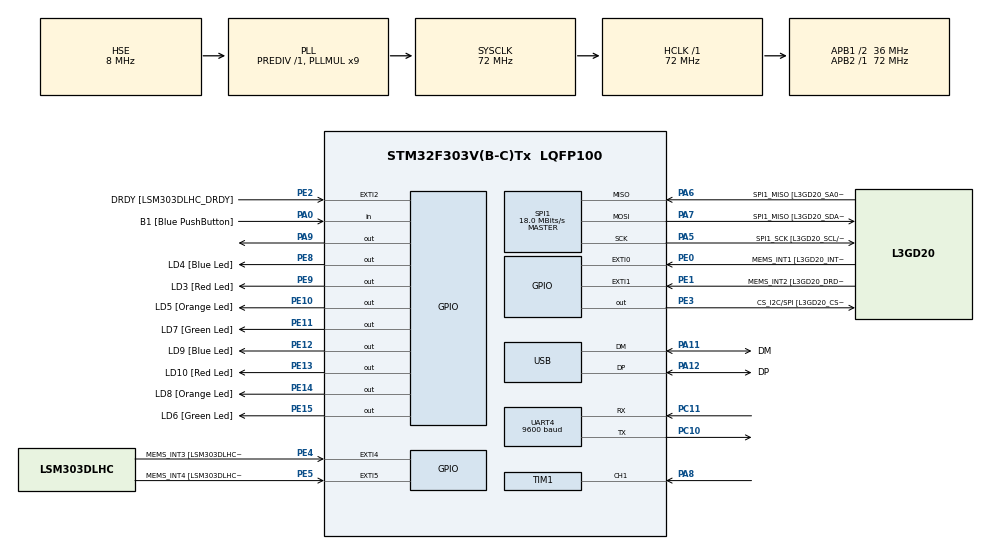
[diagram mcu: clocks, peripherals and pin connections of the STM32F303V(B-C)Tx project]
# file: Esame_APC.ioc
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Mcu.Family=STM32F3
Mcu.Name=STM32F303V(B-C)Tx
Mcu.Package=LQFP100
NVIC.PriorityGroup=NVIC_PRIORITYGROUP_0
NVIC.TIM1_CC_IRQn=true\:0\:0\:false\:false\:true\:true\:true\:true
PA0.GPIO_Label=B1 [Blue PushButton]
PA0.Signal=GPIO_Input
PA11.GPIO_Label=DM
PA11.Mode=Device
PA11.Signal=USB_DM
PA12.GPIO_Label=DP
PA12.Mode=Device
PA12.Signal=USB_DP
PA13.GPIO_Label=SWDIO
PA13.Mode=Serial_Wire
PA13.Signal=SYS_JTMS-SWDIO
PA14.GPIO_Label=SWCLK
PA14.Mode=Serial_Wire
PA14.Signal=SYS_JTCK-SWCLK
PA5.GPIO_Label=SPI1_SCK [L3GD20_SCL/SPC]
PA5.Mode=Full_Duplex_Master
PA5.Signal=SPI1_SCK
PA6.GPIO_Label=SPI1_MISO [L3GD20_SA0/SDO]
PA6.Mode=Full_Duplex_Master
PA6.Signal=SPI1_MISO
PA7.GPIO_Label=SPI1_MISO [L3GD20_SDA/SDI/SDO]
PA7.Mode=Full_Duplex_Master
PA7.Signal=SPI1_MOSI
PA8.Signal=S_TIM1_CH1
PA9.Signal=GPIO_Output
PB3.GPIO_Label=SWO
PB3.Signal=SYS_JTDO-TRACESWO
PB6.GPIO_Label=I2C1_SCL [LSM303DLHC_SCL]
PB6.GPIO_Pu=GPIO_PULLUP
PB6.Signal=I2C1_SCL
PB7.GPIO_Label=I2C1_SDA [LSM303DLHC_SDA]
PB7.GPIO_Pu=GPIO_PULLUP
PB7.Signal=I2C1_SDA
PC10.Mode=Asynchronous
PC10.Signal=UART4_TX
PC11.Mode=Asynchronous
PC11.Signal=UART4_RX
PC14-OSC32_IN.GPIO_Label=OSC32_IN
PC14-OSC32_IN.Signal=RCC_OSC32_IN
PC15-OSC32_OUT.GPIO_Label=OSC32_OUT
PC15-OSC32_OUT.Signal=RCC_OSC32_OUT
PE0.GPIO_Label=MEMS_INT1 [L3GD20_INT1]
PE0.GPIO_ModeDefaultEXTI=GPIO_MODE_EVT_RISING
PE0.Signal=GPXTI0
PE1.GPIO_Label=MEMS_INT2 [L3GD20_DRDY/INT2]
PE1.GPIO_ModeDefaultEXTI=GPIO_MODE_EVT_RISING
PE1.Signal=GPXTI1
PE10.GPIO_Label=LD5 [Orange Led]
PE10.Signal=GPIO_Output
PE11.GPIO_Label=LD7 [Green Led]
PE11.Signal=GPIO_Output
PE12.GPIO_Label=LD9 [Blue Led]
PE12.Signal=GPIO_Output
PE13.GPIO_Label=LD10 [Red Led]
PE13.Signal=GPIO_Output
PE14.GPIO_Label=LD8 [Orange Led]
PE14.Signal=GPIO_Output
PE15.GPIO_Label=LD6 [Green Led]
PE15.Signal=GPIO_Output
PE2.GPIO_Label=DRDY [LSM303DLHC_DRDY]
PE2.GPIO_ModeDefaultEXTI=GPIO_MODE_EVT_RISING
PE2.Signal=GPXTI2
PE3.GPIO_Label=CS_I2C/SPI [L3GD20_CS_I2C/SPI]
PE3.Signal=GPIO_Output
PE4.GPIO_Label=MEMS_INT3 [LSM303DLHC_INT1]
PE4.GPIO_ModeDefaultEXTI=GPIO_MODE_EVT_RISING
PE4.Signal=GPXTI4
PE5.GPIO_Label=MEMS_INT4 [LSM303DLHC_INT2]
PE5.GPIO_ModeDefaultEXTI=GPIO_MODE_EVT_RISING
PE5.Signal=GPXTI5
PE8.GPIO_Label=LD4 [Blue Led]
PE8.Signal=GPIO_Output
PE9.GPIO_Label=LD3 [Red Led]
PE9.Signal=GPIO_Output
PF0-OSC_IN.GPIO_Label=OSC_IN
PF0-OSC_IN.Mode=HSE-External-Clock-Source
PF0-OSC_IN.Signal=RCC_OSC_IN
PF1-OSC_OUT.GPIO_Label=OSC_OUT
PF1-OSC_OUT.Signal=RCC_OSC_OUT
ProjectManager.HeapSize=0x200
ProjectManager.StackSize=0x400
ProjectManager.TargetToolchain=STM32CubeIDE
RCC.AHBFreq_Value=72000000
RCC.APB1CLKDivider=RCC_HCLK_DIV2
RCC.APB1Freq_Value=36000000
RCC.APB1TimFreq_Value=72000000
RCC.APB2Freq_Value=72000000
RCC.APB2TimFreq_Value=72000000
RCC.CortexFreq_Value=72000000
RCC.HCLKFreq_Value=72000000
RCC.HSE_VALUE=8000000
RCC.HSI_VALUE=8000000
RCC.LSE_VALUE=32768
RCC.PLLMUL=RCC_PLL_MUL9
RCC.PRESCALERUSB=RCC_USBCLKSOURCE_PLL_DIV1_5
RCC.SYSCLKFreq_VALUE=72000000
RCC.SYSCLKSourceVirtual=RCC_SYSCLKSOURCE_PLLCLK
RCC.USBFreq_Value=48000000
SH.S_TIM1_CH1.0=TIM1_CH1,Input_Capture1_from_TI1
SPI1.BaudRatePrescaler=SPI_BAUDRATEPRESCALER_4
SPI1.BaudRatePrescaler-Full_Duplex_Master=SPI_BAUDRATEPRESCALER_2
SPI1.CalculateBaudRate=18.0 MBits/s
SPI1.CalculateBaudRate-Full_Duplex_Master=24.0 MBits/s
SPI1.Direction=SPI_DIRECTION_2LINES
SPI1.Mode=SPI_MODE_MASTER
SPI1.Mode-Full_Duplex_Master=SPI_MODE_MASTER
SPI1.VirtualType=VM_MASTER
TIM1.Channel-Input_Capture1_from_TI1=TIM_CHANNEL_1
TIM1.Period=0xffff-1
TIM1.Prescaler=72-1
UART4.BaudRate=9600
board=STM32F3DISCOVERY

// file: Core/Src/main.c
/* USER CODE BEGIN Header */
/**
  ******************************************************************************
  * @file           : main.c
  * @brief          : Main program body
  ******************************************************************************
  * @attention
  *
  * Copyright (c) 2025 STMicroelectronics.
  * All rights reserved.
  *
  * This software is licensed under terms that can be found in the LICENSE file
  * in the root directory of this software component.
  * If no LICENSE file comes with this software, it is provided AS-IS.
  *
  ******************************************************************************
  */
/* USER CODE END Header */
#include "main.h"

/* USER CODE BEGIN Includes */
#include <stdio.h>

/* USER CODE END Includes */

SPI_HandleTypeDef hspi1;

TIM_HandleTypeDef htim1;

UART_HandleTypeDef huart4;

PCD_HandleTypeDef hpcd_USB_FS;

void SystemClock_Config(void);
static void MX_GPIO_Init(void);
static void MX_SPI1_Init(void);
static void MX_USB_PCD_Init(void);
static void MX_TIM1_Init(void);
static void MX_UART4_Init(void);

/* USER CODE BEGIN 0 */
void delay(uint16_t time){
	//setto il counter a zero ed attendo che arrivi al valore indicato dal time
	__HAL_TIM_SET_COUNTER(&htim1,0);
	while(__HAL_TIM_GET_COUNTER(&htim1) < time);
}

uint32_t IC_Val1 = 0;
uint32_t IC_Val2 = 0;
uint32_t Difference = 0;
uint8_t Is_First_Captured = 0;  // è stato catturato il primo valore?
uint8_t Distance  = 0;
#define TRIG_PIN GPIO_PIN_9
#define TRIG_PORT GPIOA
#define LED_PORT GPIOE
const uint16_t LED_PINS[] = {
    GPIO_PIN_8,  // LD3
    GPIO_PIN_9,  // LD4
    GPIO_PIN_10, // LD5
    GPIO_PIN_11, // LD6
    GPIO_PIN_12, // LD7
    GPIO_PIN_13, // LD8
    GPIO_PIN_14, // LD9
    GPIO_PIN_15  // LD10
};
uint8_t ledsToTurnOn = 0; //contatore dei led da accendere in base alla distanza

void HAL_TIM_IC_CaptureCallback(TIM_HandleTypeDef *htim){
	if(htim -> Channel == HAL_TIM_ACTIVE_CHANNEL_1){//SE LA SORGENTE D'INTERRUZIONE è IL CANALE1
		if(Is_First_Captured == 0){
			IC_Val1 = HAL_TIM_ReadCapturedValue(htim,TIM_CHANNEL_1);
			Is_First_Captured = 1;
			__HAL_TIM_SET_CAPTUREPOLARITY(htim, TIM_CHANNEL_1, TIM_INPUTCHANNELPOLARITY_FALLING);
		}
		else{
			IC_Val2 = HAL_TIM_ReadCapturedValue(htim,TIM_CHANNEL_1);
			__HAL_TIM_SET_COUNTER(htim,0);
			if(IC_Val2 > IC_Val1){
				Difference = IC_Val2 - IC_Val1;
			}
			else{
				Difference = (0xffff - IC_Val1) + IC_Val2;
			}
			Distance = Difference * (.034/2);
			Is_First_Captured = 0;
			__HAL_TIM_SET_CAPTUREPOLARITY(htim, TIM_CHANNEL_1, TIM_INPUTCHANNELPOLARITY_RISING);
			__HAL_TIM_DISABLE_IT(htim,TIM_IT_CC1);
		}
	}
}

//funzione per la lettura dal sensore
void leggi_HCSR04(void){
	HAL_GPIO_WritePin(TRIG_PORT,TRIG_PIN,GPIO_PIN_SET);
	delay(10);//leggo ogni 10ms
	HAL_GPIO_WritePin(TRIG_PORT,TRIG_PIN,GPIO_PIN_RESET);
	__HAL_TIM_ENABLE_IT(&htim1,TIM_IT_CC1);
}
char arr[6];  // Dichiaro un buffer abbastanza grande inutile allocarlo sempre
void uart_send(uint8_t num) {
	int len = snprintf(arr, sizeof(arr), "%u\n", num);  // converte solo il numero
    HAL_UART_Transmit(&huart4, (uint8_t*)arr, len, 1000);  // invia solo i byte utili
}

/* USER CODE END 0 */

int main(void)
{

  /* MCU Configuration--------------------------------------------------------*/

  /* Reset of all peripherals, Initializes the Flash interface and the Systick. */
  HAL_Init();

  /* Configure the system clock */
  SystemClock_Config();

  /* Initialize all configured peripherals */
  MX_GPIO_Init();
  MX_SPI1_Init();
  MX_USB_PCD_Init();
  MX_TIM1_Init();
  MX_UART4_Init();
  /* USER CODE BEGIN 2 */
  HAL_TIM_IC_Start_IT(&htim1,TIM_CHANNEL_1);
  /* USER CODE END 2 */

  /* Infinite loop */
  while (1)
  {

    /* USER CODE BEGIN 3 */
	  leggi_HCSR04();
	  uart_send(Distance);
	 if(Distance <70){
		 if (Distance < 5) {
		         ledsToTurnOn = 8;
		     } else if (Distance < 10) {
		         ledsToTurnOn = 7;
		     } else if (Distance < 15) {
		         ledsToTurnOn = 6;
		     } else if (Distance < 35) {
		         ledsToTurnOn = 4;
		     } else if (Distance < 50) {
		         ledsToTurnOn = 2;
		     }
		for(int i = 0; i < 8 ; i ++){
			if(i < ledsToTurnOn){
				HAL_GPIO_WritePin(LED_PORT,LED_PINS[i],1);
			}else{
				HAL_GPIO_WritePin(LED_PORT,LED_PINS[i],0);
			}
		}
	 }else{//distanza >=70
		 for (int i = 7; i >= 0; i--) {
			 HAL_GPIO_WritePin(LED_PORT, LED_PINS[i], GPIO_PIN_RESET); // Spegne uno per uno
		 }
	 }
  }
  /* USER CODE END 3 */
}

void SystemClock_Config(void)
{
  RCC_OscInitTypeDef RCC_OscInitStruct = {0};
  RCC_ClkInitTypeDef RCC_ClkInitStruct = {0};
  RCC_PeriphCLKInitTypeDef PeriphClkInit = {0};

  /** Initializes the RCC Oscillators according to the specified parameters
  * in the RCC_OscInitTypeDef structure.
  */
  RCC_OscInitStruct.OscillatorType = RCC_OSCILLATORTYPE_HSE;
  RCC_OscInitStruct.HSEState = RCC_HSE_BYPASS;
  RCC_OscInitStruct.HSEPredivValue = RCC_HSE_PREDIV_DIV1;
  RCC_OscInitStruct.HSIState = RCC_HSI_ON;
  RCC_OscInitStruct.PLL.PLLState = RCC_PLL_ON;
  RCC_OscInitStruct.PLL.PLLSource = RCC_PLLSOURCE_HSE;
  RCC_OscInitStruct.PLL.PLLMUL = RCC_PLL_MUL9;
  if (HAL_RCC_OscConfig(&RCC_OscInitStruct) != HAL_OK)
  {
    Error_Handler();
  }

  /** Initializes the CPU, AHB and APB buses clocks
  */
  RCC_ClkInitStruct.ClockType = RCC_CLOCKTYPE_HCLK|RCC_CLOCKTYPE_SYSCLK
                              |RCC_CLOCKTYPE_PCLK1|RCC_CLOCKTYPE_PCLK2;
  RCC_ClkInitStruct.SYSCLKSource = RCC_SYSCLKSOURCE_PLLCLK;
  RCC_ClkInitStruct.AHBCLKDivider = RCC_SYSCLK_DIV1;
  RCC_ClkInitStruct.APB1CLKDivider = RCC_HCLK_DIV2;
  RCC_ClkInitStruct.APB2CLKDivider = RCC_HCLK_DIV1;

  if (HAL_RCC_ClockConfig(&RCC_ClkInitStruct, FLASH_LATENCY_2) != HAL_OK)
  {
    Error_Handler();
  }
  PeriphClkInit.PeriphClockSelection = RCC_PERIPHCLK_USB|RCC_PERIPHCLK_UART4
                              |RCC_PERIPHCLK_TIM1;
  PeriphClkInit.Uart4ClockSelection = RCC_UART4CLKSOURCE_PCLK1;
  PeriphClkInit.USBClockSelection = RCC_USBCLKSOURCE_PLL_DIV1_5;
  PeriphClkInit.Tim1ClockSelection = RCC_TIM1CLK_HCLK;
  if (HAL_RCCEx_PeriphCLKConfig(&PeriphClkInit) != HAL_OK)
  {
    Error_Handler();
  }
}

static void MX_SPI1_Init(void)
{

  /* SPI1 parameter configuration*/
  hspi1.Instance = SPI1;
  hspi1.Init.Mode = SPI_MODE_MASTER;
  hspi1.Init.Direction = SPI_DIRECTION_2LINES;
  hspi1.Init.DataSize = SPI_DATASIZE_4BIT;
  hspi1.Init.CLKPolarity = SPI_POLARITY_LOW;
  hspi1.Init.CLKPhase = SPI_PHASE_1EDGE;
  hspi1.Init.NSS = SPI_NSS_SOFT;
  hspi1.Init.BaudRatePrescaler = SPI_BAUDRATEPRESCALER_4;
  hspi1.Init.FirstBit = SPI_FIRSTBIT_MSB;
  hspi1.Init.TIMode = SPI_TIMODE_DISABLE;
  hspi1.Init.CRCCalculation = SPI_CRCCALCULATION_DISABLE;
  hspi1.Init.CRCPolynomial = 7;
  hspi1.Init.CRCLength = SPI_CRC_LENGTH_DATASIZE;
  hspi1.Init.NSSPMode = SPI_NSS_PULSE_ENABLE;
  if (HAL_SPI_Init(&hspi1) != HAL_OK)
  {
    Error_Handler();
  }

}

static void MX_TIM1_Init(void)
{

  TIM_MasterConfigTypeDef sMasterConfig = {0};
  TIM_IC_InitTypeDef sConfigIC = {0};

  htim1.Instance = TIM1;
  htim1.Init.Prescaler = 72-1;
  htim1.Init.CounterMode = TIM_COUNTERMODE_UP;
  htim1.Init.Period = 0xffff-1;
  htim1.Init.ClockDivision = TIM_CLOCKDIVISION_DIV1;
  htim1.Init.RepetitionCounter = 0;
  htim1.Init.AutoReloadPreload = TIM_AUTORELOAD_PRELOAD_DISABLE;
  if (HAL_TIM_IC_Init(&htim1) != HAL_OK)
  {
    Error_Handler();
  }
  sMasterConfig.MasterOutputTrigger = TIM_TRGO_RESET;
  sMasterConfig.MasterOutputTrigger2 = TIM_TRGO2_RESET;
  sMasterConfig.MasterSlaveMode = TIM_MASTERSLAVEMODE_DISABLE;
  if (HAL_TIMEx_MasterConfigSynchronization(&htim1, &sMasterConfig) != HAL_OK)
  {
    Error_Handler();
  }
  sConfigIC.ICPolarity = TIM_INPUTCHANNELPOLARITY_RISING;
  sConfigIC.ICSelection = TIM_ICSELECTION_DIRECTTI;
  sConfigIC.ICPrescaler = TIM_ICPSC_DIV1;
  sConfigIC.ICFilter = 0;
  if (HAL_TIM_IC_ConfigChannel(&htim1, &sConfigIC, TIM_CHANNEL_1) != HAL_OK)
  {
    Error_Handler();
  }

}

static void MX_UART4_Init(void)
{

  huart4.Instance = UART4;
  huart4.Init.BaudRate = 9600;
  huart4.Init.WordLength = UART_WORDLENGTH_8B;
  huart4.Init.StopBits = UART_STOPBITS_1;
  huart4.Init.Parity = UART_PARITY_NONE;
  huart4.Init.Mode = UART_MODE_TX_RX;
  huart4.Init.HwFlowCtl = UART_HWCONTROL_NONE;
  huart4.Init.OverSampling = UART_OVERSAMPLING_16;
  huart4.Init.OneBitSampling = UART_ONE_BIT_SAMPLE_DISABLE;
  huart4.AdvancedInit.AdvFeatureInit = UART_ADVFEATURE_NO_INIT;
  if (HAL_UART_Init(&huart4) != HAL_OK)
  {
    Error_Handler();
  }

}

static void MX_USB_PCD_Init(void)
{

  hpcd_USB_FS.Instance = USB;
  hpcd_USB_FS.Init.dev_endpoints = 8;
  hpcd_USB_FS.Init.speed = PCD_SPEED_FULL;
  hpcd_USB_FS.Init.phy_itface = PCD_PHY_EMBEDDED;
  hpcd_USB_FS.Init.low_power_enable = DISABLE;
  hpcd_USB_FS.Init.battery_charging_enable = DISABLE;
  if (HAL_PCD_Init(&hpcd_USB_FS) != HAL_OK)
  {
    Error_Handler();
  }

}

static void MX_GPIO_Init(void)
{
  GPIO_InitTypeDef GPIO_InitStruct = {0};

  /* GPIO Ports Clock Enable */
  __HAL_RCC_GPIOE_CLK_ENABLE();
  __HAL_RCC_GPIOC_CLK_ENABLE();
  __HAL_RCC_GPIOF_CLK_ENABLE();
  __HAL_RCC_GPIOA_CLK_ENABLE();
  __HAL_RCC_GPIOB_CLK_ENABLE();

  /*Configure GPIO pin Output Level */
  HAL_GPIO_WritePin(GPIOE, CS_I2C_SPI_Pin|LD4_Pin|LD3_Pin|LD5_Pin
                          |LD7_Pin|LD9_Pin|LD10_Pin|LD8_Pin
                          |LD6_Pin, GPIO_PIN_RESET);

  /*Configure GPIO pin Output Level */
  HAL_GPIO_WritePin(GPIOA, GPIO_PIN_9, GPIO_PIN_RESET);

  /*Configure GPIO pins : DRDY_Pin MEMS_INT3_Pin MEMS_INT4_Pin MEMS_INT1_Pin
                           MEMS_INT2_Pin */
  GPIO_InitStruct.Pin = DRDY_Pin|MEMS_INT3_Pin|MEMS_INT4_Pin|MEMS_INT1_Pin
                          |MEMS_INT2_Pin;
  GPIO_InitStruct.Mode = GPIO_MODE_EVT_RISING;
  GPIO_InitStruct.Pull = GPIO_NOPULL;
  HAL_GPIO_Init(GPIOE, &GPIO_InitStruct);

  /*Configure GPIO pins : CS_I2C_SPI_Pin LD4_Pin LD3_Pin LD5_Pin
                           LD7_Pin LD9_Pin LD10_Pin LD8_Pin
                           LD6_Pin */
  GPIO_InitStruct.Pin = CS_I2C_SPI_Pin|LD4_Pin|LD3_Pin|LD5_Pin
                          |LD7_Pin|LD9_Pin|LD10_Pin|LD8_Pin
                          |LD6_Pin;
  GPIO_InitStruct.Mode = GPIO_MODE_OUTPUT_PP;
  GPIO_InitStruct.Pull = GPIO_NOPULL;
  GPIO_InitStruct.Speed = GPIO_SPEED_FREQ_LOW;
  HAL_GPIO_Init(GPIOE, &GPIO_InitStruct);

  /*Configure GPIO pin : B1_Pin */
  GPIO_InitStruct.Pin = B1_Pin;
  GPIO_InitStruct.Mode = GPIO_MODE_INPUT;
  GPIO_InitStruct.Pull = GPIO_NOPULL;
  HAL_GPIO_Init(B1_GPIO_Port, &GPIO_InitStruct);

  /*Configure GPIO pin : PA9 */
  GPIO_InitStruct.Pin = GPIO_PIN_9;
  GPIO_InitStruct.Mode = GPIO_MODE_OUTPUT_PP;
  GPIO_InitStruct.Pull = GPIO_NOPULL;
  GPIO_InitStruct.Speed = GPIO_SPEED_FREQ_LOW;
  HAL_GPIO_Init(GPIOA, &GPIO_InitStruct);

  /*Configure GPIO pins : I2C1_SCL_Pin I2C1_SDA_Pin */
  GPIO_InitStruct.Pin = I2C1_SCL_Pin|I2C1_SDA_Pin;
  GPIO_InitStruct.Mode = GPIO_MODE_AF_OD;
  GPIO_InitStruct.Pull = GPIO_PULLUP;
  GPIO_InitStruct.Speed = GPIO_SPEED_FREQ_HIGH;
  GPIO_InitStruct.Alternate = GPIO_AF4_I2C1;
  HAL_GPIO_Init(GPIOB, &GPIO_InitStruct);

}

void Error_Handler(void)
{
  __disable_irq();
  while (1)
  {
  }
}
